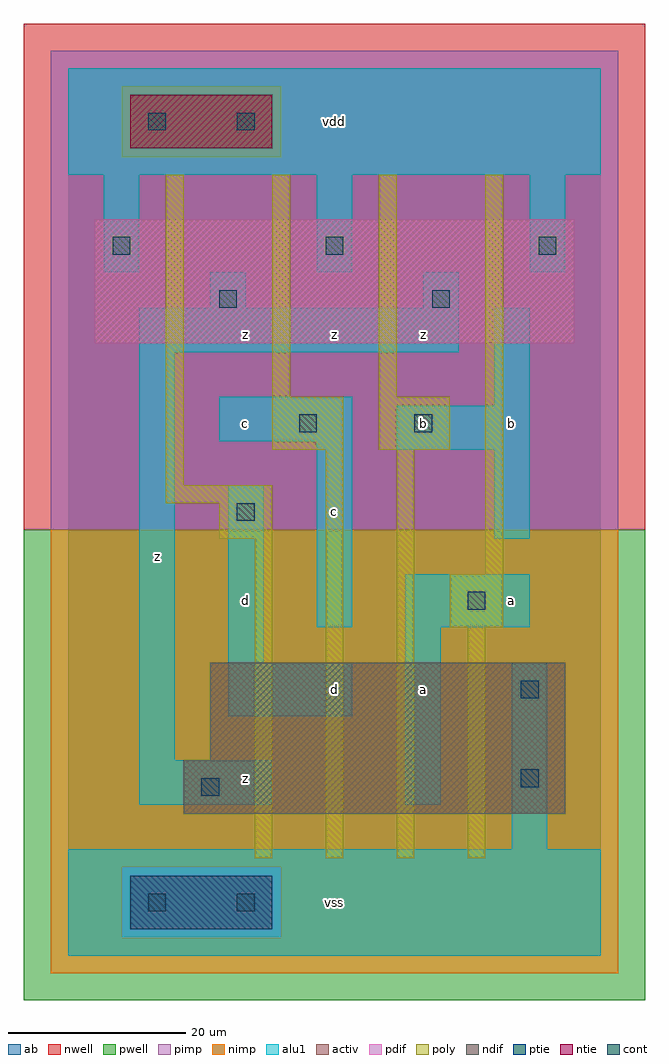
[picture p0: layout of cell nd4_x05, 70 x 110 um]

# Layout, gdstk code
import gdstk
lib = gdstk.Library(unit=1e-6, precision=1e-09)
def R(c, l, rs):  # rectangles x0, y0, x1, y1
    for r in rs: c.add(gdstk.rectangle(r[:2], r[2:], *l))
def A(c, l, x, y, w, h, nx, ny, dx, dy):  # array of equal rectangles
    R(c, l, [(x+i*dx, y+j*dy, x+i*dx+w, y+j*dy+h) for i in range(nx) for j in range(ny)])
ndif = (3, 0)
pdif = (4, 0)
ntie = (5, 0)
ptie = (6, 0)
cont = (25, 0)
pwell = (41, 0)
nwell = (42, 0)
activ = (43, 0)
pimp = (44, 0)
nimp = (45, 0)
poly = (46, 0)
alu1 = (49, 0)
ab = (63, 0)

nd4_x05 = lib.new_cell('nd4_x05')
R(nd4_x05, ndif, [(13,16,56,22), (16,22,56,33)])
R(nd4_x05, pdif, [(3,69,57,83)])
R(nd4_x05, ntie, [(7,91,23,97)])
R(nd4_x05, ptie, [(7,3,23,9)])
A(nd4_x05, cont, 19, 5, 2, 2, 1, 3, 0, 44)
A(nd4_x05, cont, 5, 79, 2, 2, 3, 1, 24, 0)
R(nd4_x05, cont, [(9,5,11,7), (15,18,17,20), (51,19,53,21), (51,29,53,31), (45,39,47,41), (26,59,28,61), (39,59,41,61), (17,73,19,75), (41,73,43,75), (9,93,11,95)])
R(nd4_x05, pwell, [(-5,-5,65,48)])
R(nd4_x05, nwell, [(-5,48,65,105)])
R(nd4_x05, activ, [(7,3,23,9), (13,16,56,22), (16,22,56,33), (3,69,57,83), (7,91,23,97)])
R(nd4_x05, pimp, [(6,2,24,10), (-2,48,62,90), (-2,90,6,98), (24,90,62,98), (-2,98,62,102)])
R(nd4_x05, nimp, [(-2,-2,62,2), (-2,2,6,10), (24,2,62,10), (-2,10,62,48), (6,90,24,98)])
R(nd4_x05, poly, [(21,11,23,47), (29,11,31,57), (37,11,39,57), (45,11,47,37), (43,37,49,43), (47,43,49,88), (17,47,23,51), (11,51,23,53), (11,53,13,88), (23,57,31,63), (35,57,43,63), (23,63,25,88), (35,63,37,88)])
A(nd4_x05, alu1, 4, 77, 4, 11, 3, 1, 24, 0)
R(nd4_x05, alu1, [(0,0,60,12), (50,12,54,33), (8,17,23,22), (38,17,42,37), (8,22,12,68), (18,27,32,33), (18,33,22,53), (28,37,32,58), (38,37,52,43), (48,47,52,57), (37,57,52,62), (17,58,32,63), (48,62,52,73), (8,68,44,73), (16,73,20,77), (40,73,44,77), (0,88,60,100)])
R(nd4_x05, ab, [(0,0,60,100)])
nd4_x05.add(gdstk.Label('z', (10,45), layer=49, texttype=0))
nd4_x05.add(gdstk.Label('z', (20,20), layer=49, texttype=0))
nd4_x05.add(gdstk.Label('d', (20,40), layer=49, texttype=0))
nd4_x05.add(gdstk.Label('z', (20,70), layer=49, texttype=0))
nd4_x05.add(gdstk.Label('c', (20,60), layer=49, texttype=0))
nd4_x05.add(gdstk.Label('vss', (30,6), layer=49, texttype=0))
nd4_x05.add(gdstk.Label('d', (30,30), layer=49, texttype=0))
nd4_x05.add(gdstk.Label('a', (40,30), layer=49, texttype=0))
nd4_x05.add(gdstk.Label('c', (30,50), layer=49, texttype=0))
nd4_x05.add(gdstk.Label('z', (30,70), layer=49, texttype=0))
nd4_x05.add(gdstk.Label('z', (40,70), layer=49, texttype=0))
nd4_x05.add(gdstk.Label('b', (40,60), layer=49, texttype=0))
nd4_x05.add(gdstk.Label('vdd', (30,94), layer=49, texttype=0))
nd4_x05.add(gdstk.Label('a', (50,40), layer=49, texttype=0))
nd4_x05.add(gdstk.Label('b', (50,60), layer=49, texttype=0))

lib.write_gds('nd4_x05.gds')
